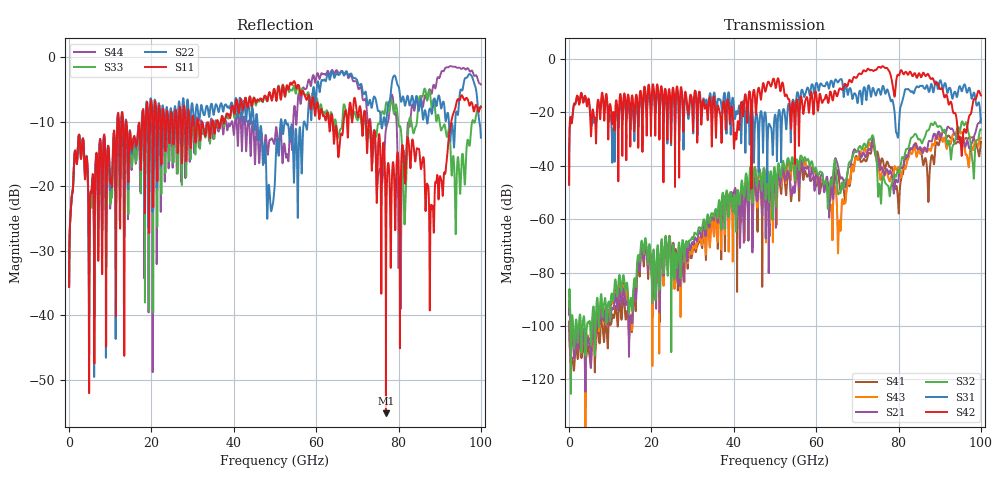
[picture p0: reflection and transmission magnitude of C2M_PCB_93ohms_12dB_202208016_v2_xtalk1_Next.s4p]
! Info: Touchstone file created by Circ.  Input file=Intel_C2M_200G_2p5in_202208016_staggered.circ
# Hz S RI R 50
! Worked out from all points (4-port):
!   10000 points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, 10 MHz to 100 GHz, reference 50 ohm
!   strongest paths, dB at 10 MHz, 25.01 GHz, 50.01 GHz, 75.01 GHz, 100 GHz:
!     S42: -47.0, -13.7, -9.6, -3.2, -13.7
!     S31: -47.1, -16.7, -20.9, -11.4, -23.9
!     S32: -93.0, -80.0, -42.0, -50.6, -26.5
!     S21: -95.5, -73.0, -46.6, -37.8, -22.6
!     S43: -95.0, -77.9, -42.7, -41.7, -29.6
!     S41: -98.3, -72.1, -47.1, -35.4, -31.1
!   lowest |S11| = -55.2 dB at 76.94 GHz (marker M1), VSWR 1.00, Z = 50 - j0.172 ohm
!   |S11| at or under -10 dB: start of sweep to 11.74 GHz; 13.93 GHz to 17.74 GHz (3.805 GHz wide, 24 % of centre); 73.01 GHz to 92.81 GHz (19.8 GHz wide, 23.9 % of centre)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
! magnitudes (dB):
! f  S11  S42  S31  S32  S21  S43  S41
! 10 MHz  -35.6  -47.0  -47.1  -93.0  -95.5  -95.0  -98.3
! 3.07 GHz  -14.6  -13.1  -13.0  -108.5  -109.3  -109.3  -111.3
! 40.37 GHz  -7.8  -27.7  -21.8  -54.6  -49.1  -53.2  -48.4
! 73.45 GHz  -16.9  -4.1  -13.2  -29.3  -31.8  -31.9  -34.1
! 76.94 GHz  -55.2  -3.4  -12.6  -46.7  -41.7  -42.0  -39.8
! 95.07 GHz  -6.3  -30.4  -10.8  -25.8  -31.9  -27.9  -30.6
! 100 GHz  -7.8  -13.7  -23.9  -26.5  -22.6  -29.6  -31.1
